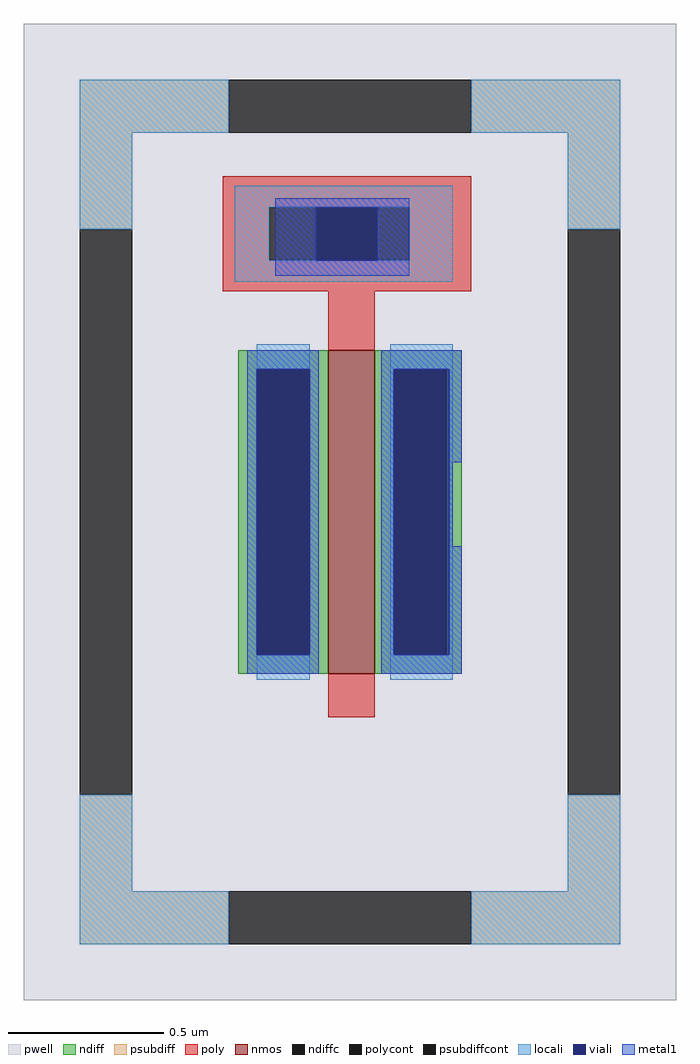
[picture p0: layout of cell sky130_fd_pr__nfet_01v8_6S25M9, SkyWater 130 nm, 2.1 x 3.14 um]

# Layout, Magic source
magic
tech sky130B
<< pwell >>
rect -105 -157 105 157
<< nmos >>
rect -7 -52 8 52
<< ndiff >>
rect -36 46 -7 52
rect -36 -46 -30 46
rect -13 -46 -7 46
rect -36 -52 -7 -46
rect 8 46 36 52
rect 8 -46 14 46
rect 31 -46 36 46
rect 8 -52 36 -46
<< ndiffc >>
rect -30 -46 -13 46
rect 14 -46 31 46
<< psubdiff >>
rect -87 122 -39 139
rect 39 122 87 139
rect -87 91 -70 122
rect 70 91 87 122
rect -87 -122 -70 -91
rect 70 -122 87 -91
rect -87 -139 -39 -122
rect 39 -139 87 -122
<< psubdiffcont >>
rect -39 122 39 139
rect -87 -91 -70 91
rect 70 -91 87 91
rect -39 -139 39 -122
<< poly >>
rect -41 98 39 108
rect -41 81 -26 98
rect 19 81 39 98
rect -41 71 39 81
rect -7 52 8 71
rect -7 -66 8 -52
<< polycont >>
rect -26 81 19 98
<< locali >>
rect -87 122 -39 139
rect 39 122 87 139
rect -87 91 -70 122
rect -37 98 33 105
rect -37 81 -26 98
rect 19 81 33 98
rect -37 74 33 81
rect 70 91 87 122
rect -30 46 -13 54
rect -30 -54 -13 -46
rect 13 46 33 54
rect 13 -46 14 46
rect 32 -46 33 46
rect 13 -54 33 -46
rect -87 -122 -70 -91
rect 70 -122 87 -91
rect -87 -139 -39 -122
rect 39 -139 87 -122
<< viali >>
rect -11 81 9 98
rect -30 -46 -13 46
rect 14 -46 31 46
rect 31 -46 32 46
<< metal1 >>
rect -24 98 19 101
rect -24 81 -11 98
rect 9 81 19 98
rect -24 76 19 81
rect -33 46 -10 52
rect -33 -46 -30 46
rect -13 -46 -10 46
rect -33 -52 -10 -46
rect 10 46 36 52
rect 10 -46 14 46
rect 32 16 36 46
rect 32 -11 33 16
rect 32 -46 36 -11
rect 10 -52 36 -46
<< properties >>
string FIXED_BBOX -79 -131 79 131
string gencell sky130_fd_pr__nfet_01v8
string library sky130
string parameters w 1.05 l 0.15 m 1 nf 1 diffcov 100 polycov 100 guard 1 glc 1 grc 1 gtc 1 gbc 1 tbcov 100 rlcov 100 topc 1 botc 1 poverlap 0 doverlap 1 lmin 0.15 wmin 0.42 class mosfet compatible {sky130_fd_pr__nfet_01v8 sky130_fd_pr__nfet_01v8_lvt  sky130_fd_bs_flash__special_sonosfet_star  sky130_fd_pr__nfet_g5v0d10v5 sky130_fd_pr__nfet_05v0_nvt  sky130_fd_pr__nfet_03v3_nvt} full_metal 1 viasrc 100 viadrn 100 viagate 100 viagb 0 viagr 0 viagl 0 viagt 0
<< end >>
